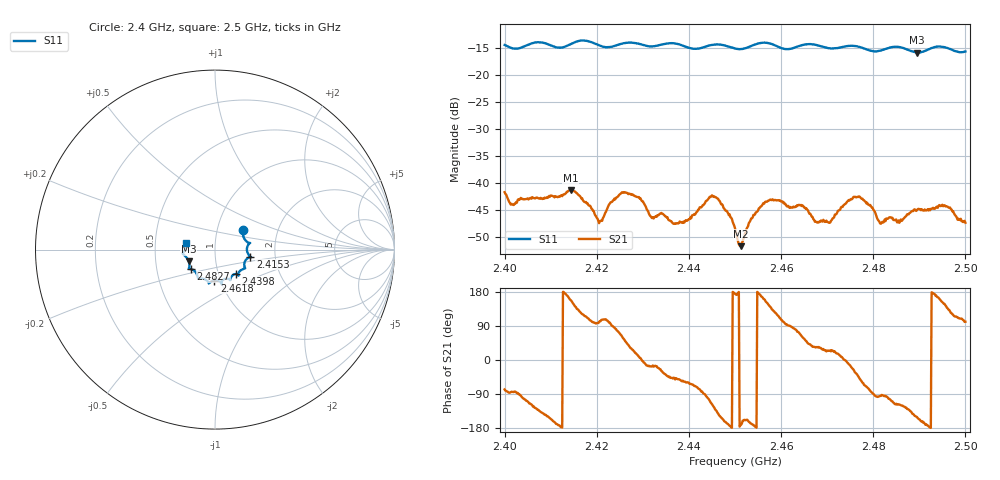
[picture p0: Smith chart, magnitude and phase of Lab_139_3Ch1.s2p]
# Hz S RI R
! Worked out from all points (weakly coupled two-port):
!   601 points, 2.4 GHz to 2.5 GHz, reference 50 ohm
!   highest |S21| = -41.29 dB at 2.4143 GHz (marker M1); lowest = -51.6 dB at 2.4513 GHz (marker M2)
!   lowest |S11| = -15.9 dB at 2.4895 GHz (marker M3), VSWR 1.38, Z = 37 - j5.01 ohm
!   |S11| at or under -10 dB: start of sweep to end of sweep
!   S12 and S22 are empty: the file has one direction only
!   S11 on the Smith chart (normalised r, x): 2.4 GHz: 1.33, +0.29; 2.4153 GHz: 1.48, -0.12; 2.4398 GHz: 1.21, -0.34; 2.4618 GHz: 0.94, -0.33; 2.4827 GHz: 0.75, -0.17; 2.5 GHz: 0.72, +0.06
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2.4e9  0.1554 0.1065  0.00177 -0.00806  0 0  0 0
2.401833e9  0.157 0.0766  0.000623 -0.00626  0 0  0 0
2.414333e9  0.1889 -0.031  -0.008 0.00322  0 0  0 0
2.415333e9  0.1964 -0.0389  -0.00647 0.00525  0 0  0 0
2.416667e9  0.2024 -0.0429  -0.00391 0.00604  0 0  0 0
2.420667e9  0.1785 -0.0501  -0.000971 0.00435  0 0  0 0
2.425833e9  0.1669 -0.1014  0.00458 0.00673  0 0  0 0
2.433333e9  0.1298 -0.134  0.00472 -0.00179  0 0  0 0
2.439833e9  0.1153 -0.1355  0.00234 -0.00395  0 0  0 0
2.445333e9  0.084 -0.1697  -0.00406 -0.00626  0 0  0 0
2.45e9  0.0651 -0.1621  -0.00381 0.000355  0 0  0 0
2.451333e9  0.0507 -0.1648  -0.00258 -0.000426  0 0  0 0
2.456333e9  0.0387 -0.1939  -0.0061 0.00214  0 0  0 0
2.461833e9  -0.00346 -0.1728  -5.22e-05 0.00591  0 0  0 0
2.466667e9  -0.035 -0.1881  0.00389 0.00298  0 0  0 0
2.4705e9  -0.0533 -0.1671  0.00391 0.00177  0 0  0 0
2.4765e9  -0.0957 -0.1557  0.00585 -0.00459  0 0  0 0
2.482667e9  -0.1348 -0.1083  -0.00047 -0.00443  0 0  0 0
2.483333e9  -0.1399 -0.1082  -0.00102 -0.00465  0 0  0 0
2.4895e9  -0.146 -0.0661  -0.00492 -0.00278  0 0  0 0
2.4955e9  -0.1786 -0.0177  -0.00529 0.00334  0 0  0 0
2.5e9  -0.1593 0.0388  -0.000816 0.00423  0 0  0 0
